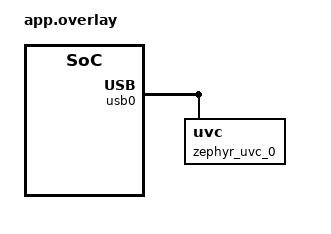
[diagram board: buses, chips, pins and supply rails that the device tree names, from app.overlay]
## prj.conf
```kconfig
CONFIG_ASSERT=y
CONFIG_BOOT_BANNER=n
CONFIG_CLOCK_CONTROL=y
CONFIG_CLOCK_CONTROL_LOG_LEVEL_DBG=y
CONFIG_CLOCK_CONTROL_SI5351=y
CONFIG_GPIO=n
CONFIG_I2C=y
CONFIG_I2C_INIT_PRIORITY=0
CONFIG_I2C_SHELL=y
CONFIG_KERNEL_SHELL=y
CONFIG_LOG=y
CONFIG_LOG_MODE_MINIMAL=y
CONFIG_NET_BUF_POOL_USAGE=y
CONFIG_SERIAL=y
CONFIG_SHELL=y
CONFIG_SPI=n
CONFIG_UART_LINE_CTRL=y
CONFIG_UDC_BUF_COUNT=32
CONFIG_UDC_DRIVER_LOG_LEVEL_DBG=y
CONFIG_UDC_USB23=y
CONFIG_USBD_LOG_LEVEL_DBG=y
CONFIG_USBD_SHELL=y
CONFIG_USBD_UVC_CLASS=y
CONFIG_USBD_UVC_LOG_LEVEL_DBG=y
CONFIG_USB_DEVICE_STACK_NEXT=y
CONFIG_XIP=y
```

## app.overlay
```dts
zephyr_udc0: &usb0 {
	num-bidir-endpoints = <2>;
	num-endpoint-trb = <2 2  0 32>;
	maximum-speed = "super-speed";

	zephyr_uvc_0 {
		compatible = "zephyr,uvc";
		payload-addr = <0xb1100000>;
		status = "okay";
	};
};
```

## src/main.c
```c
#include <zephyr/kernel.h>
#include <zephyr/devicetree.h>
#include <zephyr/drivers/usb/udc.h>
#include <zephyr/drivers/clock_control.h>
#include <zephyr/usb/usbd.h>
#include <zephyr/usb/bos.h>
#include <zephyr/logging/log.h>
LOG_MODULE_REGISTER(main, LOG_LEVEL_DBG);

USBD_DEVICE_DEFINE(my_usbd_dev, DEVICE_DT_GET(DT_NODELABEL(zephyr_udc0)), 0x1209, 0x0001);
USBD_DEVICE_QUALIFIER_DEFINE(my_usbd_device_qualifier);
USBD_CONFIGURATION_DEFINE(my_usbd_config, USB_SCD_SELF_POWERED, 100);
USBD_DESC_LANG_DEFINE(my_usbd_lang);
USBD_DESC_MANUFACTURER_DEFINE(my_usbd_manufacturer, "tinyVision.ai");
USBD_DESC_PRODUCT_DEFINE(my_usbd_product, "tinyCLUNX33");
//USBD_DESC_SERIAL_NUMBER_DEFINE(my_usbd_serial_number, "0123456789ABCDEF");

struct {
	struct usb_bos_descriptor bos;
	struct usb_bos_capability_lpm lpm;
	struct usb_bos_capability_superspeed_usb superspeed_usb;
} __packed my_usbd_bos_desc = {
	.bos = {
		.bLength = sizeof(struct usb_bos_descriptor),
		.bDescriptorType = USB_DESC_BOS,
		.wTotalLength = sys_cpu_to_le16(sizeof(my_usbd_bos_desc)),
		.bNumDeviceCaps = 2,
	},
	.lpm = {
		.bLength = sizeof(struct usb_bos_capability_lpm),
		.bDescriptorType = USB_DESC_DEVICE_CAPABILITY,
		.bDevCapabilityType = USB_BOS_CAPABILITY_EXTENSION,
		.bmAttributes = USB_BOS_ATTRIBUTES_LPM, //  | USB_BOS_ATTRIBUTES_BESL
	},
	.superspeed_usb = {
		.bLength = sizeof(struct usb_bos_capability_superspeed_usb),
		.bDescriptorType = USB_DESC_DEVICE_CAPABILITY,
		.bDevCapabilityType = USB_BOS_CAPABILITY_SUPERSPEED_USB,
		.bmAttributes = USB_BOS_ATTRIBUTES_LPM, //| USB_BOS_ATTRIBUTES_BESL,
		.wSpeedsSupported = sys_cpu_to_le16(USB_BOS_SPEED_SUPERSPEED_GEN1
			| USB_BOS_SPEED_HIGHSPEED | USB_BOS_SPEED_FULLSPEED),
		.bFunctionnalSupport = 1,
		.bU1DevExitLat = 10,
		.wU2DevExitLat = sys_cpu_to_le16(1023),
	},
};
static struct usbd_desc_node my_usbd_bos = {
	.desc = &my_usbd_bos_desc,
};

int main(void)
{
	int err = 0;

	clock_control_on(DEVICE_DT_GET(DT_NODELABEL(pll0)), NULL);

	err = usbd_add_descriptor(&my_usbd_dev, &my_usbd_device_qualifier);
	err |= usbd_add_descriptor(&my_usbd_dev, &my_usbd_bos);
	err |= usbd_add_descriptor(&my_usbd_dev, &my_usbd_lang);
	err |= usbd_add_descriptor(&my_usbd_dev, &my_usbd_manufacturer);
	err |= usbd_add_descriptor(&my_usbd_dev, &my_usbd_product);
	//err |= usbd_add_descriptor(&my_usbd_dev, &my_usbd_serial_number);
	err |= usbd_add_configuration(&my_usbd_dev, &my_usbd_config);
	err |= usbd_register_class(&my_usbd_dev, "uvc_0", 1);
	__ASSERT_NO_MSG(err == 0);

	err = usbd_init(&my_usbd_dev);
	__ASSERT_NO_MSG(err == 0);

	err = usbd_enable(&my_usbd_dev);
	__ASSERT_NO_MSG(err == 0);

	/* As soon as interrupts are enabled in the hardware architecture, this
	 * can be removed */
	while (true) {
		k_sleep(K_MSEC(1));
		usb23_irq_handler(DEVICE_DT_GET(DT_NODELABEL(zephyr_udc0)));
	}

	return 0;
}
```
